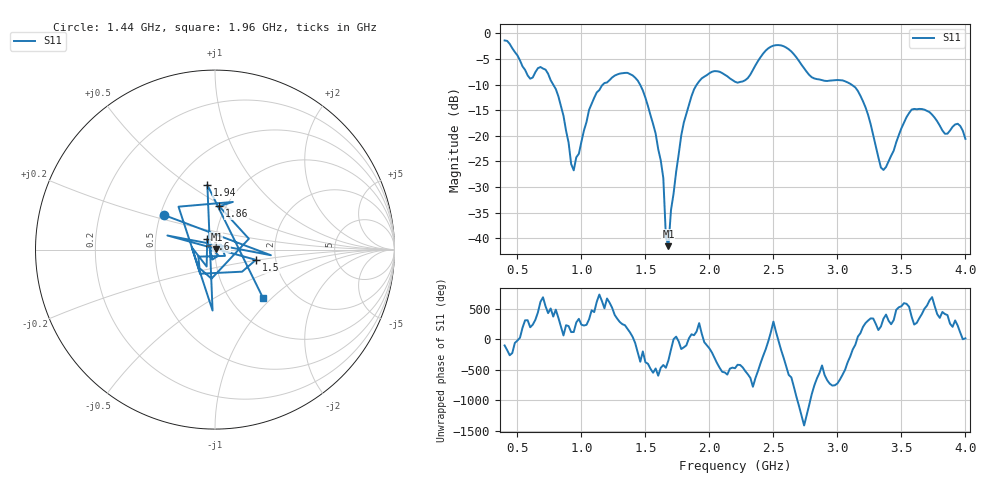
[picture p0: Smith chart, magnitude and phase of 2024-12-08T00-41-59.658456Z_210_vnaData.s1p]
!Created with skrf (http://scikit-rf.org).
# Hz S RI R 50.0
!freq ReS11 ImS11
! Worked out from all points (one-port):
!   181 points, 400 MHz to 4 GHz, reference 50 ohm
!   lowest |S11| = -41.6 dB at 1.68 GHz (marker M1), VSWR 1.02, Z = 50.8 + j0.269 ohm
!   |S11| at or under -10 dB: 779 MHz to 1.169 GHz (389.5 MHz wide, 40 % of centre); 1.458 GHz to 1.902 GHz (444 MHz wide, 26.4 % of centre); 3.108 GHz to end of sweep
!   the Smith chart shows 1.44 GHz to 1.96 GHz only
!   S11 on the Smith chart (normalised r, x): 1.44 GHz: 0.52, +0.23; 1.5 GHz: 1.58, -0.19; 1.6 GHz: 0.91, +0.11; 1.86 GHz: 0.93, +0.48; 1.94 GHz: 0.71, +0.59; 1.96 GHz: 1.41, -0.88
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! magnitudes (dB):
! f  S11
! 400 MHz  -1.4
! 600 MHz  -8.9
! 720 MHz  -7.1
! 860 MHz  -16.1
! 940 MHz  -26.8
! 1.1 GHz  -12.6
! 1.3 GHz  -7.9
! 1.44 GHz  -9.2
! 1.5 GHz  -12.6
! 1.6 GHz  -22.6
! 1.64 GHz  -28.3
! 1.66 GHz  -39.7
! 1.68 GHz  -41.6
! 1.7 GHz  -34.5
! 1.76 GHz  -23.6
! 1.86 GHz  -12.3
! 1.94 GHz  -8.8
! 1.96 GHz  -8.5
! 2.2 GHz  -9.5
! 2.48 GHz  -2.6
! 2.66 GHz  -4.1
! 2.8 GHz  -8.6
! 3.1 GHz  -9.9
! 3.22 GHz  -14.5
! 3.36 GHz  -26.7
! 3.56 GHz  -15.6
! 3.94 GHz  -17.7
! 4 GHz  -20.6
